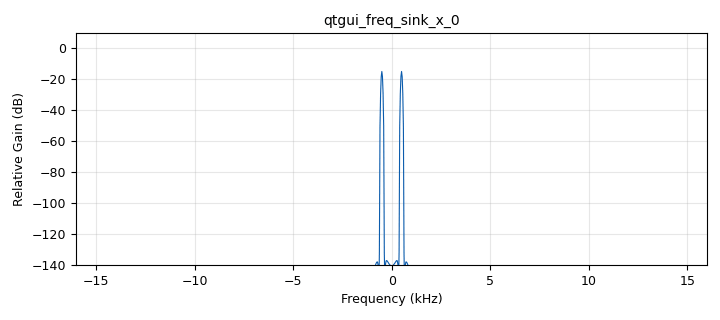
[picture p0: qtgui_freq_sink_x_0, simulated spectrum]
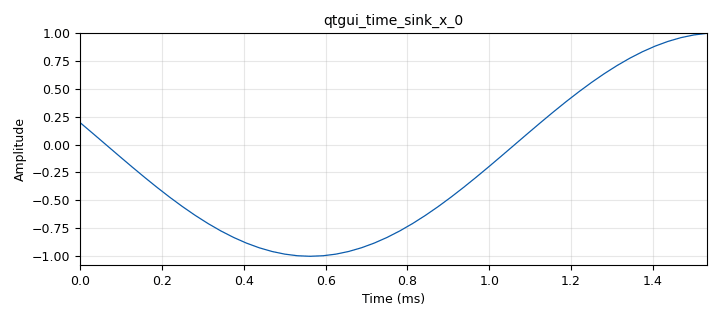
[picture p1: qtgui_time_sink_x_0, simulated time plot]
options:
  parameters:
    generate_options: qt_gui
    id: sampling_basics
    output_language: python
    run_options: run
    title: Sampling basics
  states: {}

blocks:
- name: sample_rate
  id: variable_qtgui_chooser
  parameters:
    label: Sample rate
    label0: 32 kS/s
    label1: 8 kS/s
    label2: 4 kS/s
    label3: 2.5 kS/s
    label4: 0.5 kS/s
    num_opts: '5'
    option0: '32000'
    option1: '8000'
    option2: '4000'
    option3: '2500'
    option4: '500'
    orient: Qt.QHBoxLayout
    type: real
    value: '32000'
    widget: radio_buttons
  states: {}
- name: sig_freq
  id: variable_qtgui_range
  parameters:
    label: Signal frequency
    start: '500'
    step: '100'
    stop: '3000'
    value: '500'
  states: {}
- name: analog_sig_source_x_0
  id: analog_sig_source_x
  parameters:
    amp: '1'
    freq: sig_freq
    offset: '0'
    phase: '0'
    samp_rate: sample_rate
    type: float
    waveform: analog.GR_COS_WAVE
  states: {}
- name: blocks_throttle2_0
  id: blocks_throttle2
  parameters:
    samples_per_second: sample_rate
    type: float
  states: {}
- name: qtgui_freq_sink_x_0
  id: qtgui_freq_sink_x
  parameters:
    bw: sample_rate
    fc: '0'
    fftsize: '1024'
    grid: 'True'
    type: float
  states: {}
- name: qtgui_time_sink_x_0
  id: qtgui_time_sink_x
  parameters:
    color1: dark red
    size: '50'
    srate: sample_rate
    type: float
  states: {}

connections:
- [analog_sig_source_x_0, '0', blocks_throttle2_0, '0']
- [blocks_throttle2_0, '0', qtgui_freq_sink_x_0, '0']
- [blocks_throttle2_0, '0', qtgui_time_sink_x_0, '0']

metadata:
  file_format: 1
  grc_version: 3.10.12.0
